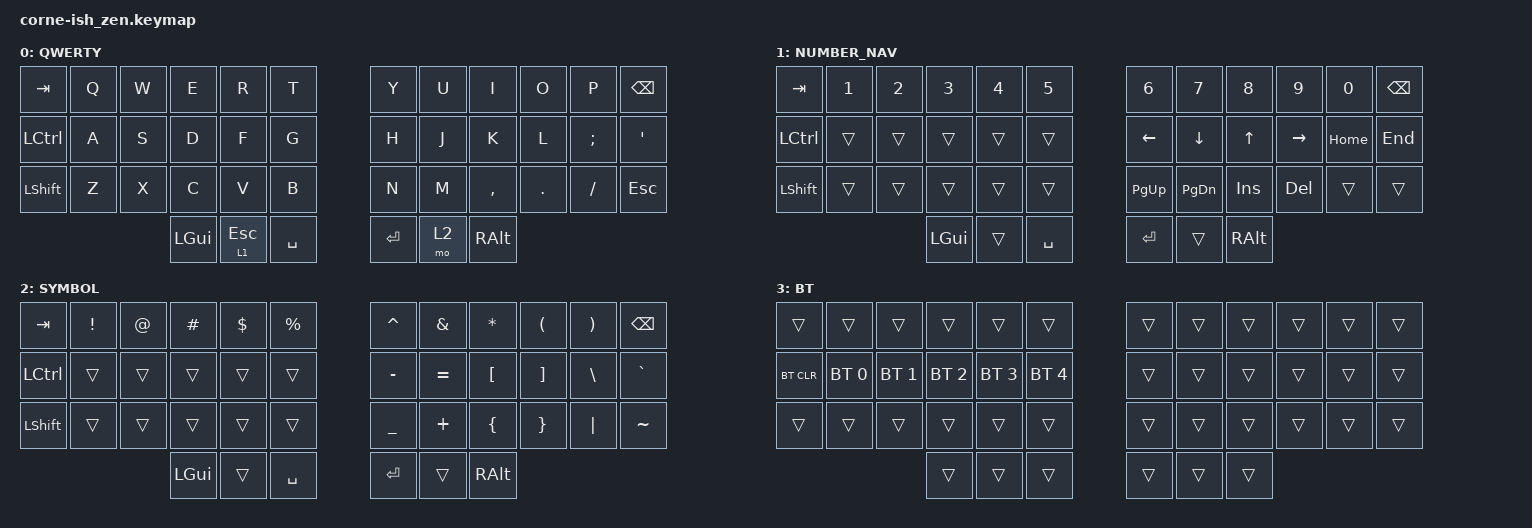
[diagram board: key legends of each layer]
/*
*
* Copyright (c) 2021 Darryl deHaan
* SPDX-License-Identifier: MIT
*
*/

#include <behaviors.dtsi>
#include <dt-bindings/zmk/keys.h>
#include <dt-bindings/zmk/bt.h>

/ {
  chosen {
    zmk,matrix_transform = &default_transform;
    //zmk,matrix_transform = &five_column_transform;
  };
};

&sl {
  // (opcional) podes ajustar aqui settings de sticky layer se quiseres,
  // mas o default normalmente serve.
};

 / {
  keymap {
    compatible = "zmk,keymap";

    /**********************************************************************
     * COMBOS
     * - B + N => one-shot layer 3 (BT)
     **********************************************************************/
    combos {
      compatible = "zmk,combos";
    
      combo_bt_oneshot {
        timeout-ms = <50>;
        // Assumido layout 3x6_3: B=29, N=30
        key-positions = <29 30>;
        bindings = <&sl 3>;
      };
    };

    /**********************************************************************
     * LAYER 0: QWERTY (BASE)
     *
     * -----------------------------------------------------------------------------------------
     * |  TAB |  Q  |  W  |  E  |  R  |  T  |   |  Y  |  U   |  I  |  O  |  P  | BKSP |
     * | CTRL |  A  |  S  |  D  |  F  |  G  |   |  H  |  J   |  K  |  L  |  ;  |  '   |
     * | SHFT |  Z  |  X  |  C  |  V  |  B  |   |  N  |  M   |  ,  |  .  |  /  | ESC  |
     *                    | GUI | LWR | SPC |   | ENT | RSE  | ALT |
     *
     * LWR: tap = ESC, hold = layer 1 (NUMBER+NAV)
     **********************************************************************/
    default_layer {
      label = "QWERTY";
      bindings = <
        &kp TAB    &kp Q     &kp W     &kp E     &kp R     &kp T        &kp Y     &kp U     &kp I     &kp O     &kp P     &kp BSPC
        &kp LCTRL  &kp A     &kp S     &kp D     &kp F     &kp G        &kp H     &kp J     &kp K     &kp L     &kp SEMI  &kp SQT
        &kp LSHFT  &kp Z     &kp X     &kp C     &kp V     &kp B        &kp N     &kp M     &kp COMMA &kp DOT   &kp FSLH  &kp ESC
                       &kp LGUI  &lt 1 ESC  &kp SPACE        &kp RET  &mo 2     &kp RALT
      >;
    };

    /**********************************************************************
     * LAYER 1: NUMBER + NAV
     *
     * -----------------------------------------------------------------------------------------
     * |  TAB |  1  |  2  |  3  |  4  |  5  |   |  6   |  7   |  8  |  9  |  0  | BKSP |
     * | CTRL |     |     |     |     |     |   | LEFT | DOWN |  UP | RGT | HOME| END  |
     * | SHFT |     |     |     |     |     |   | PGUP | PGDN | INS | DEL |     |      |
     *                    | GUI |     | SPC |   | ENT  |      | ALT |
     **********************************************************************/
    lower_layer {
      label = "NUMBER_NAV";
      bindings = <
        &kp TAB    &kp N1     &kp N2     &kp N3     &kp N4     &kp N5        &kp N6     &kp N7     &kp N8     &kp N9     &kp N0     &kp BSPC
        &kp LCTRL  &trans     &trans     &trans     &trans     &trans        &kp LEFT   &kp DOWN   &kp UP     &kp RIGHT  &kp HOME   &kp END
        &kp LSHFT  &trans     &trans     &trans     &trans     &trans        &kp PG_UP  &kp PG_DN  &kp INS    &kp DEL    &trans     &trans
                         &kp LGUI  &trans     &kp SPACE       &kp RET  &trans     &kp RALT
      >;
    };

    /**********************************************************************
     * LAYER 2: SYMBOL
     *
     * -----------------------------------------------------------------------------------------
     * |  TAB |  !  |  @  |  #  |  $  |  %  |   |  ^  |  &  |  *  |  (  |  )  | BKSP |
     * | CTRL |     |     |     |     |     |   |  -  |  =  |  [  |  ]  |  \  |  `   |
     * | SHFT |     |     |     |     |     |   |  _  |  +  |  {  |  }  |  |  |  ~   |
     *                    | GUI |     | SPC |   | ENT |     | ALT |
     **********************************************************************/
    raise_layer {
      label = "SYMBOL";
      bindings = <
        &kp TAB    &kp EXCL   &kp AT     &kp HASH   &kp DLLR   &kp PRCNT      &kp CARET  &kp AMPS   &kp ASTERISK &kp LPAR   &kp RPAR   &kp BSPC
        &kp LCTRL  &trans     &trans     &trans     &trans     &trans         &kp MINUS  &kp EQUAL  &kp LBKT     &kp RBKT   &kp BSLH   &kp GRAVE
        &kp LSHFT  &trans     &trans     &trans     &trans     &trans         &kp UNDER  &kp PLUS   &kp LBRC     &kp RBRC   &kp PIPE   &kp TILDE
                         &kp LGUI  &trans     &kp SPACE       &kp RET  &trans     &kp RALT
      >;
    };

    /**********************************************************************
     * LAYER 3: BLUETOOTH (one-shot via combo B+N)
     *
     * -----------------------------------------------------------------------------------------
     * |      |      |      |      |      |      |   |      |      |      |      |      |      |
     * | BTCLR|  BT1 |  BT2 |  BT3 |  BT4 |  BT5 |   |      |      |      |      |      |      |
     * |      |      |      |      |      |      |   |      |      |      |      |      |      |
     *                    |      |      |      |   |      |      |      |
     **********************************************************************/
    bt_layer {
      label = "BT";
      bindings = <
        &trans        &trans         &trans         &trans         &trans         &trans          &trans        &trans &trans &trans &trans &trans
        &bt BT_CLR    &bt BT_SEL 0   &bt BT_SEL 1   &bt BT_SEL 2   &bt BT_SEL 3   &bt BT_SEL 4    &trans        &trans &trans &trans &trans &trans
        &trans        &trans         &trans         &trans         &trans         &trans          &trans        &trans &trans &trans &trans &trans
                                 &trans        &trans        &trans            &trans        &trans        &trans
      >;
    };
  };
};
